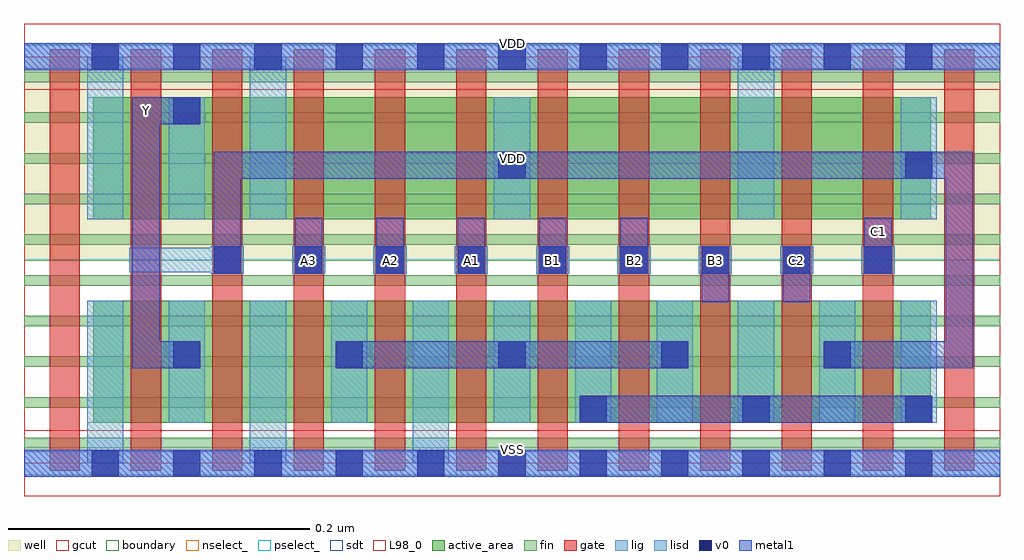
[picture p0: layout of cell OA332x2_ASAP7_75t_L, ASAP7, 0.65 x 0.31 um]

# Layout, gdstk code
import gdstk
lib = gdstk.Library(unit=1e-6, precision=2.5e-10)
def R(c, l, rs):  # rectangles x0, y0, x1, y1
    for r in rs: c.add(gdstk.rectangle(r[:2], r[2:], *l))
def A(c, l, x, y, w, h, nx, ny, dx, dy):  # array of equal rectangles
    R(c, l, [(x+i*dx, y+j*dy, x+i*dx+w, y+j*dy+h) for i in range(nx) for j in range(ny)])
def P(c, l, *ps):  # polygons
    for p in ps: c.add(gdstk.Polygon(p, *l))
well = (1, 0)
fin = (2, 0)
gate = (7, 0)
gcut = (10, 0)
active_area = (11, 0)
nselect_ = (12, 0)
pselect_ = (13, 0)
lig = (16, 0)
lisd = (17, 0)
v0 = (18, 0)
metal1 = (19, 0)
sdt = (88, 0)
L98_0 = (98, 0)
boundary = (100, 0)

oa332x2_asap7_75t_l = lib.new_cell('OA332x2_ASAP7_75t_L')
R(oa332x2_asap7_75t_l, well, [(0,0.135,0.648,0.27)])
A(oa332x2_asap7_75t_l, fin, 0, 0.01, 0.648, 0.007, 1, 10, 0, 0.027)
A(oa332x2_asap7_75t_l, gate, 0.017, -0.005, 0.02, 0.28, 12, 1, 0.054, 0)
R(oa332x2_asap7_75t_l, gcut, [(0,-0.022,0.648,0.022), (0,0.248,0.648,0.292)])
R(oa332x2_asap7_75t_l, active_area, [(0.046,0.027,0.602,0.108), (0.046,0.162,0.602,0.243)])
R(oa332x2_asap7_75t_l, nselect_, [(0,0,0.648,0.135)])
R(oa332x2_asap7_75t_l, pselect_, [(0,0.135,0.648,0.27)])
A(oa332x2_asap7_75t_l, lig, 0.124, 0.126, 0.022, 0.018, 9, 1, 0.054, 0)
R(oa332x2_asap7_75t_l, lig, [(0,-0.008,0.648,0.008), (0.07,0.127,0.146,0.143), (0,0.262,0.648,0.278)])
A(oa332x2_asap7_75t_l, lisd, 0.096, 0.027, 0.024, 0.081, 3, 1, 0.108, 0)
A(oa332x2_asap7_75t_l, lisd, 0.366, 0.027, 0.024, 0.081, 5, 1, 0.054, 0)
R(oa332x2_asap7_75t_l, lisd, [(0.042,0,0.066,0.108), (0.042,0,0.066,0.108), (0.15,0,0.174,0.108), (0.15,0,0.174,0.108), (0.258,0,0.282,0.108), (0.258,0,0.282,0.108), (0.042,0.162,0.066,0.27), (0.042,0.162,0.066,0.27), (0.096,0.162,0.12,0.243), (0.15,0.162,0.174,0.27), (0.15,0.162,0.174,0.27), (0.312,0.162,0.336,0.243), (0.474,0.162,0.498,0.27), (0.474,0.162,0.498,0.27), (0.582,0.162,0.606,0.243)])
A(oa332x2_asap7_75t_l, v0, 0.045, -0.009, 0.018, 0.018, 11, 2, 0.054, 0.27)
A(oa332x2_asap7_75t_l, v0, 0.369, 0.027, 0.018, 0.018, 3, 1, 0.108, 0)
A(oa332x2_asap7_75t_l, v0, 0.099, 0.063, 0.018, 0.018, 5, 1, 0.108, 0)
A(oa332x2_asap7_75t_l, v0, 0.126, 0.126, 0.018, 0.018, 9, 1, 0.054, 0)
R(oa332x2_asap7_75t_l, v0, [(0.315,0.189,0.333,0.207), (0.585,0.189,0.603,0.207), (0.099,0.225,0.117,0.243)])
A(oa332x2_asap7_75t_l, metal1, 0.369, 0.027, 0.018, 0.018, 3, 1, 0.108, 0)
A(oa332x2_asap7_75t_l, metal1, 0.099, 0.063, 0.018, 0.018, 5, 1, 0.108, 0)
A(oa332x2_asap7_75t_l, metal1, 0.126, 0.126, 0.018, 0.018, 9, 1, 0.054, 0)
A(oa332x2_asap7_75t_l, metal1, 0.18, 0.126, 0.018, 0.037, 5, 1, 0.054, 0)
R(oa332x2_asap7_75t_l, metal1, [(0,-0.009,0.648,0.009), (0.369,0.027,0.603,0.045), (0.207,0.063,0.441,0.081), (0.45,0.107,0.468,0.144), (0.504,0.107,0.522,0.144), (0.558,0.126,0.576,0.163), (0.315,0.189,0.333,0.207), (0.585,0.189,0.603,0.207), (0.099,0.225,0.117,0.243), (0,0.261,0.648,0.279)])
P(oa332x2_asap7_75t_l, metal1, [(0.126,0.207),(0.126,0.126),(0.144,0.126),(0.144,0.189),(0.612,0.189),(0.612,0.081),(0.531,0.081),(0.531,0.063),(0.63,0.063),(0.63,0.207)],
  [(0.117,0.081),(0.09,0.081),(0.09,0.225),(0.117,0.225),(0.117,0.243),(0.072,0.243),(0.072,0.063),(0.117,0.063)])
A(oa332x2_asap7_75t_l, sdt, 0.042, 0.027, 0.024, 0.081, 3, 2, 0.054, 0.135)
A(oa332x2_asap7_75t_l, sdt, 0.15, 0.027, 0.024, 0.081, 3, 1, 0.054, 0)
A(oa332x2_asap7_75t_l, sdt, 0.258, 0.027, 0.024, 0.081, 7, 1, 0.054, 0)
A(oa332x2_asap7_75t_l, sdt, 0.15, 0.162, 0.024, 0.081, 3, 1, 0.162, 0)
R(oa332x2_asap7_75t_l, sdt, [(0.042,0.027,0.066,0.108), (0.042,0.162,0.066,0.243), (0.474,0.162,0.498,0.243), (0.582,0.162,0.606,0.243)])
R(oa332x2_asap7_75t_l, L98_0, [(0,0,0.648,0.27)])
R(oa332x2_asap7_75t_l, boundary, [(0,0,0.648,0.27)])
oa332x2_asap7_75t_l.add(gdstk.Label('VDD', (0.324,0.2025), layer=1, texttype=251))
oa332x2_asap7_75t_l.add(gdstk.Label('VSS', (0.324,-0.0675), layer=3, texttype=251))
oa332x2_asap7_75t_l.add(gdstk.Label('VSS', (0.324,0.009), layer=19, texttype=251))
oa332x2_asap7_75t_l.add(gdstk.Label('VDD', (0.324,0.279), layer=19, texttype=251))
oa332x2_asap7_75t_l.add(gdstk.Label('Y', (0.081,0.234), layer=19, texttype=251))
oa332x2_asap7_75t_l.add(gdstk.Label('A3', (0.189,0.135), layer=19, texttype=251))
oa332x2_asap7_75t_l.add(gdstk.Label('A2', (0.243,0.135), layer=19, texttype=251))
oa332x2_asap7_75t_l.add(gdstk.Label('A1', (0.297,0.135), layer=19, texttype=251))
oa332x2_asap7_75t_l.add(gdstk.Label('B1', (0.351,0.135), layer=19, texttype=251))
oa332x2_asap7_75t_l.add(gdstk.Label('B2', (0.405,0.135), layer=19, texttype=251))
oa332x2_asap7_75t_l.add(gdstk.Label('B3', (0.459,0.135), layer=19, texttype=251))
oa332x2_asap7_75t_l.add(gdstk.Label('C2', (0.513,0.135), layer=19, texttype=251))
oa332x2_asap7_75t_l.add(gdstk.Label('C1', (0.567,0.154), layer=19, texttype=251))

lib.write_gds('OA332x2_ASAP7_75t_L.gds')
